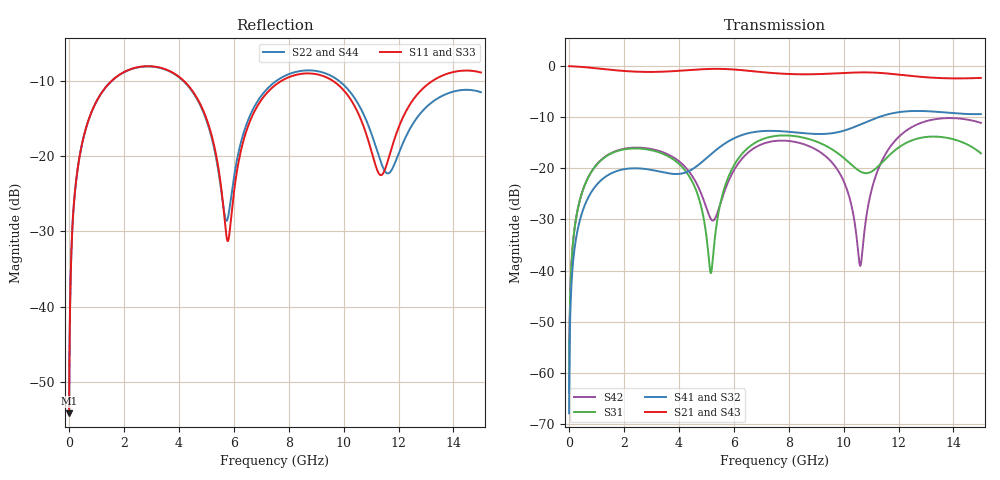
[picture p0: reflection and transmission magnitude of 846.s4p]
! Created with skrf 1.8.0 (http://scikit-rf.org).
# GHz S RI R 50.0
!freq ReS11 ImS11 ReS12 ImS12 ReS13 ImS13
! ReS14 ImS14
! ReS21 ImS21 ReS22 ImS22 ReS23 ImS23
! ReS24 ImS24
! ReS31 ImS31 ReS32 ImS32 ReS33 ImS33
! ReS34 ImS34
! ReS41 ImS41 ReS42 ImS42 ReS43 ImS43
! ReS44 ImS44
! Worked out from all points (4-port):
!   2499 points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, 5 MHz to 15 GHz, reference 50 ohm
!   strongest paths, dB at 5 MHz, 3.476 GHz, 7.19 GHz, 11.1 GHz, 15 GHz:
!     S21: 0.0, -1.1, -1.3, -1.3, -2.3
!     S43: 0.0, -1.1, -1.3, -1.3, -2.3
!     S41: -67.9, -20.8, -12.7, -10.3, -9.4
!     S32: -67.9, -20.9, -12.7, -10.3, -9.5
!     S31: -63.9, -17.3, -14.0, -20.4, -17.1
!     S42: -63.9, -17.0, -15.0, -22.7, -11.1
!   lowest |S11| = -54.2 dB at 5 MHz (marker M1), VSWR 1.00, Z = 50.2 + j0.119 ohm
!   |S11| at or under -10 dB: start of sweep to 1.568 GHz; 4.168 GHz to 7.76 GHz (3.592 GHz wide, 60.2 % of centre); 9.589 GHz to 13.26 GHz (3.671 GHz wide, 32.1 % of centre)
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0.005  0.00156 0.00118  0.9984 -0.00304  7.85e-05 0.000631  -7.62e-05 -0.000394
       0.9984 -0.00304  0.00156 0.00118  -7.62e-05 -0.000394  7.86e-05 0.000631
       7.85e-05 0.000631  -7.62e-05 -0.000394  0.00156 0.00118  0.9984 -0.00304
       -7.62e-05 -0.000394  7.86e-05 0.000631  0.9984 -0.00304  0.00156 0.00118
0.3126303  0.0221 0.0782  0.9698 -0.1893  0.0101 0.0377  -0.00851 -0.0233
           0.9698 -0.1893  0.0221 0.0782  -0.00851 -0.0233  0.0104 0.0376
           0.0101 0.0377  -0.00851 -0.0233  0.0221 0.0782  0.9698 -0.1893
           -0.00851 -0.0233  0.0104 0.0376  0.9698 -0.1893  0.0221 0.0782
1.519383  0.249 0.1848  0.5948 -0.7015  0.1194 0.071  -0.0877 -0.0137
          0.5948 -0.7015  0.2477 0.1856  -0.0876 -0.0137  0.1237 0.0658
          0.1194 0.071  -0.0876 -0.0137  0.249 0.1848  0.5948 -0.7015
          -0.0877 -0.0137  0.1237 0.0658  0.5948 -0.7015  0.2476 0.1856
5.583576  0.0292 -0.0445  -0.9258 -0.1538  0.0145 0.0524  -0.0241 0.1663
          -0.9258 -0.1538  0.0384 -0.035  -0.0258 0.166  -0.0278 0.0436
          0.0145 0.0524  -0.0258 0.166  0.0296 -0.0433  -0.9259 -0.1533
          -0.0241 0.1663  -0.0278 0.0436  -0.9259 -0.1533  0.0377 -0.0341
9.010004  0.3456 -0.043  0.0361 0.8331  0.1381 -0.1195  0.2034 -0.0748
          0.0361 0.8331  0.3611 -0.0579  0.2036 -0.0706  0.1404 -0.058
          0.1381 -0.1195  0.2036 -0.0706  0.349 -0.045  0.0358 0.8321
          0.2034 -0.0748  0.1404 -0.058  0.0358 0.8321  0.3631 -0.0564
10.61067  0.1334 -0.1178  0.6771 0.5425  -0.0704 -0.0608  0.1589 -0.2161
          0.6771 0.5425  0.1457 -0.149  0.1635 -0.2127  0.0107 0.00292
          -0.0704 -0.0608  0.1635 -0.2127  0.1359 -0.1206  0.6757 0.543
          0.1589 -0.2161  0.0107 0.00292  0.6757 0.543  0.1476 -0.1517
15  0.3409 -0.107  -0.0247 -0.766  0.1388 -0.02  -0.3291 0.0825
    -0.0247 -0.766  0.2611 -0.0413  -0.3271 0.0699  0.1604 -0.2273
    0.1388 -0.02  -0.3271 0.0699  0.3447 -0.1202  -0.0236 -0.7646
    -0.3291 0.0825  0.1604 -0.2273  -0.0236 -0.7646  0.2623 -0.0249
